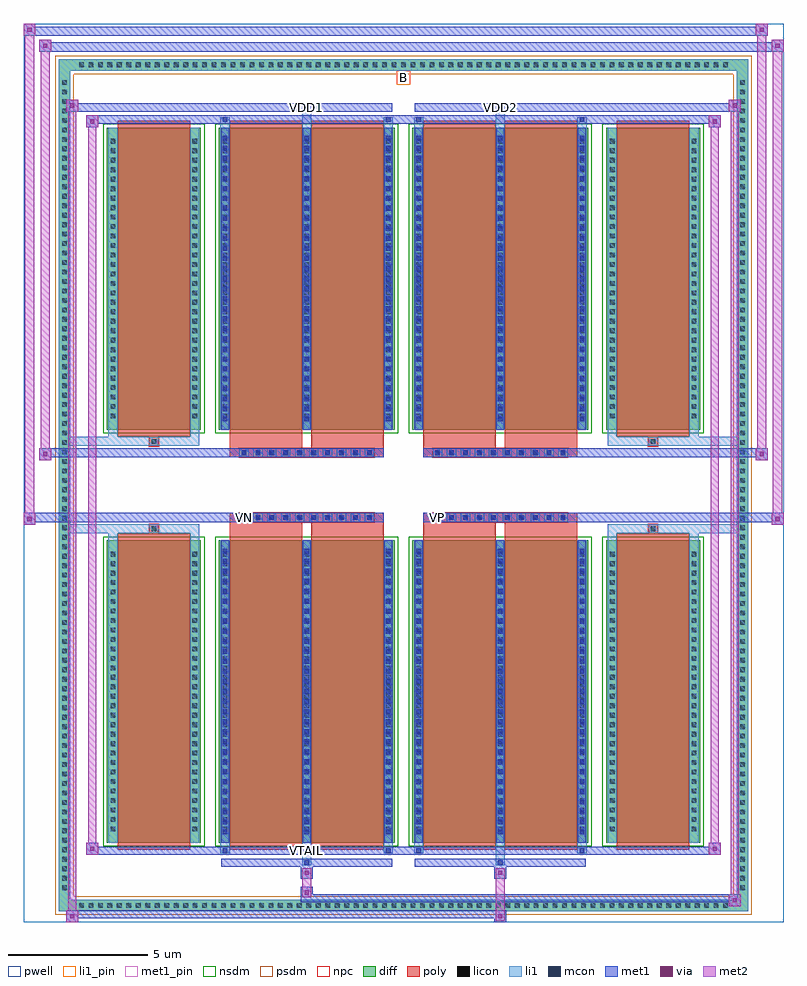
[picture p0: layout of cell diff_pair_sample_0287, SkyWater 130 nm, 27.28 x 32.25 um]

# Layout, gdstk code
import gdstk
lib = gdstk.Library(unit=1e-6, precision=5e-09)
def R(c, l, rs):  # rectangles x0, y0, x1, y1
    for r in rs: c.add(gdstk.rectangle(r[:2], r[2:], *l))
def A(c, l, x, y, w, h, nx, ny, dx, dy):  # array of equal rectangles
    R(c, l, [(x+i*dx, y+j*dy, x+i*dx+w, y+j*dy+h) for i in range(nx) for j in range(ny)])
def P(c, l, *ps):  # polygons
    for p in ps: c.add(gdstk.Polygon(p, *l))
pwell = (64, 44)
diff = (65, 20)
poly = (66, 20)
licon = (66, 44)
li1_pin = (67, 16)
li1 = (67, 20)
mcon = (67, 44)
met1_pin = (68, 16)
met1 = (68, 20)
via = (68, 44)
met2 = (69, 20)
nsdm = (93, 44)
psdm = (94, 20)
npc = (95, 20)

diff_pair_sample_0287 = lib.new_cell('diff_pair_sample_0287')
R(diff_pair_sample_0287, pwell, [(-13.64,-15.69,13.64,16.56), (-10.96,-13.88,-0.01,-0.8), (0.01,-13.88,10.96,-0.8), (-10.96,0.8,-0.01,13.88), (0.01,0.8,10.96,13.88)])
A(diff_pair_sample_0287, diff, -11.765, -15.29, 0.41, 0.41, 69, 2, 0.34, 30.17)
A(diff_pair_sample_0287, diff, -12.37, -14.655, 0.41, 0.41, 1, 86, 0, 0.34)
A(diff_pair_sample_0287, diff, 11.96, -14.655, 0.41, 0.41, 1, 86, 0, 0.34)
R(diff_pair_sample_0287, diff, [(-11.765,-15.29,11.765,-14.88), (-12.37,-14.655,-11.96,14.655), (11.96,-14.655,12.37,14.655), (-10.65,-12.835,-7.27,-1.985), (-6.63,-12.835,-0.32,-1.985), (0.32,-12.835,6.63,-1.985), (7.27,-12.835,10.65,-1.985), (-10.65,1.985,-7.27,12.835), (-6.63,1.985,-0.32,12.835), (0.32,1.985,6.63,12.835), (7.27,1.985,10.65,12.835), (-11.765,14.88,11.765,15.29)])
P(diff_pair_sample_0287, diff, [(12.37,15.29),(-12.37,15.29),(-12.37,-14.88),(-11.96,-14.88),(-11.96,14.88),(11.96,14.88),(11.96,-14.88),(-11.96,-14.88),(-12.37,-14.88),(-12.37,-15.29),(12.37,-15.29)])
A(diff_pair_sample_0287, poly, -5.89, -1.33, 0.33, 0.33, 10, 2, 0.5, 2.33)
A(diff_pair_sample_0287, poly, 1.06, -1.33, 0.33, 0.33, 10, 2, 0.5, 2.33)
R(diff_pair_sample_0287, poly, [(-10.26,-13.085,-7.66,-1.735), (-6.24,-13.085,-3.64,-1.735), (-3.31,-13.085,-0.71,-1.735), (0.71,-13.085,3.31,-1.735), (3.64,-13.085,6.24,-1.735), (7.66,-13.085,10.26,-1.735), (-9.125,-1.735,-8.795,-1.405), (-9.125,-1.735,-8.795,-1.405), (-6.24,-1.735,-3.64,-1.33), (-3.31,-1.735,-0.71,-1.33), (0.71,-1.735,3.31,-1.33), (3.64,-1.735,6.24,-1.33), (8.795,-1.735,9.125,-1.405), (8.795,-1.735,9.125,-1.405), (-6.24,-1.33,-0.71,-1), (0.71,-1.33,6.24,-1), (-6.24,1,-0.71,1.33), (0.71,1,6.24,1.33), (-6.24,1.33,-3.64,1.735), (-3.31,1.33,-0.71,1.735), (0.71,1.33,3.31,1.735), (3.64,1.33,6.24,1.735), (-9.125,1.405,-8.795,1.735), (-9.125,1.405,-8.795,1.735), (8.795,1.405,9.125,1.735), (8.795,1.405,9.125,1.735), (-10.26,1.735,-7.66,13.085), (-6.24,1.735,-3.64,13.085), (-3.31,1.735,-0.71,13.085), (0.71,1.735,3.31,13.085), (3.64,1.735,6.24,13.085), (7.66,1.735,10.26,13.085)])
A(diff_pair_sample_0287, licon, -11.645, -15.17, 0.17, 0.17, 69, 2, 0.34, 30.17)
A(diff_pair_sample_0287, licon, -12.25, -14.535, 0.17, 0.17, 1, 86, 0, 0.34)
A(diff_pair_sample_0287, licon, 12.08, -14.535, 0.17, 0.17, 1, 86, 0, 0.34)
A(diff_pair_sample_0287, licon, -10.51, -12.425, 0.17, 0.17, 1, 30, 0, 0.34)
A(diff_pair_sample_0287, licon, -7.58, -12.425, 0.17, 0.17, 1, 30, 0, 0.34)
A(diff_pair_sample_0287, licon, -6.49, -12.425, 0.17, 0.17, 3, 30, 2.93, 0.34)
A(diff_pair_sample_0287, licon, 0.46, -12.425, 0.17, 0.17, 3, 30, 2.93, 0.34)
A(diff_pair_sample_0287, licon, 7.41, -12.425, 0.17, 0.17, 1, 30, 0, 0.34)
A(diff_pair_sample_0287, licon, 10.34, -12.425, 0.17, 0.17, 1, 30, 0, 0.34)
A(diff_pair_sample_0287, licon, -5.81, -1.25, 0.17, 0.17, 10, 2, 0.5, 2.33)
A(diff_pair_sample_0287, licon, 1.14, -1.25, 0.17, 0.17, 10, 2, 0.5, 2.33)
A(diff_pair_sample_0287, licon, -10.51, 2.395, 0.17, 0.17, 1, 30, 0, 0.34)
A(diff_pair_sample_0287, licon, -7.58, 2.395, 0.17, 0.17, 1, 30, 0, 0.34)
A(diff_pair_sample_0287, licon, -6.49, 2.395, 0.17, 0.17, 3, 30, 2.93, 0.34)
A(diff_pair_sample_0287, licon, 0.46, 2.395, 0.17, 0.17, 3, 30, 2.93, 0.34)
A(diff_pair_sample_0287, licon, 7.41, 2.395, 0.17, 0.17, 1, 30, 0, 0.34)
A(diff_pair_sample_0287, licon, 10.34, 2.395, 0.17, 0.17, 1, 30, 0, 0.34)
R(diff_pair_sample_0287, licon, [(-9.045,-1.655,-8.875,-1.485), (8.875,-1.655,9.045,-1.485), (-9.045,1.485,-8.875,1.655), (8.875,1.485,9.045,1.655)])
R(diff_pair_sample_0287, li1_pin, [(-0.25,14.38,0.25,14.88)])
A(diff_pair_sample_0287, li1, -11.725, -15.25, 0.33, 0.33, 69, 2, 0.34, 30.17)
A(diff_pair_sample_0287, li1, -12.33, -14.615, 0.33, 0.33, 1, 86, 0, 0.34)
A(diff_pair_sample_0287, li1, 12, -14.615, 0.33, 0.33, 1, 86, 0, 0.34)
A(diff_pair_sample_0287, li1, -6.57, -12.835, 0.33, 10.85, 3, 2, 2.93, 14.82)
A(diff_pair_sample_0287, li1, 0.38, -12.835, 0.33, 10.85, 3, 2, 2.93, 14.82)
A(diff_pair_sample_0287, li1, -6.49, -12.535, 0.17, 0.17, 3, 29, 2.93, 0.36)
A(diff_pair_sample_0287, li1, -6.49, -12.535, 0.17, 10.25, 3, 2, 2.93, 14.82)
A(diff_pair_sample_0287, li1, 0.46, -12.535, 0.17, 0.17, 3, 29, 2.93, 0.36)
A(diff_pair_sample_0287, li1, 0.46, -12.535, 0.17, 10.25, 3, 2, 2.93, 14.82)
A(diff_pair_sample_0287, li1, -10.59, -12.505, 0.33, 0.33, 1, 30, 0, 0.34)
A(diff_pair_sample_0287, li1, -7.66, -12.505, 0.33, 0.33, 1, 30, 0, 0.34)
A(diff_pair_sample_0287, li1, -6.57, -12.505, 0.33, 0.33, 3, 30, 2.93, 0.34)
A(diff_pair_sample_0287, li1, 0.38, -12.505, 0.33, 0.33, 3, 30, 2.93, 0.34)
A(diff_pair_sample_0287, li1, 7.33, -12.505, 0.33, 0.33, 1, 30, 0, 0.34)
A(diff_pair_sample_0287, li1, 10.26, -12.505, 0.33, 0.33, 1, 30, 0, 0.34)
A(diff_pair_sample_0287, li1, -5.89, -1.33, 0.33, 0.33, 10, 2, 0.5, 2.33)
A(diff_pair_sample_0287, li1, 1.06, -1.33, 0.33, 0.33, 10, 2, 0.5, 2.33)
A(diff_pair_sample_0287, li1, -6.49, 2.285, 0.17, 0.17, 3, 29, 2.93, 0.36)
A(diff_pair_sample_0287, li1, 0.46, 2.285, 0.17, 0.17, 3, 29, 2.93, 0.36)
A(diff_pair_sample_0287, li1, -10.59, 2.315, 0.33, 0.33, 1, 30, 0, 0.34)
A(diff_pair_sample_0287, li1, -7.66, 2.315, 0.33, 0.33, 1, 30, 0, 0.34)
A(diff_pair_sample_0287, li1, -6.57, 2.315, 0.33, 0.33, 3, 30, 2.93, 0.34)
A(diff_pair_sample_0287, li1, 0.38, 2.315, 0.33, 0.33, 3, 30, 2.93, 0.34)
A(diff_pair_sample_0287, li1, 7.33, 2.315, 0.33, 0.33, 1, 30, 0, 0.34)
A(diff_pair_sample_0287, li1, 10.26, 2.315, 0.33, 0.33, 1, 30, 0, 0.34)
R(diff_pair_sample_0287, li1, [(-12.37,-15.29,-11.96,-14.88), (-12.37,-15.29,-11.96,-14.88), (-11.96,-15.29,11.96,-14.88), (11.96,-15.29,12.37,-14.88), (11.96,-15.29,12.37,-14.88), (-12.37,-14.88,-11.96,14.88), (11.96,-14.88,12.37,14.88), (-3.64,-13.64,-3.31,-12.835), (-3.56,-13.64,-3.39,-13.47), (3.31,-13.64,3.64,-12.835), (3.39,-13.64,3.56,-13.47), (-6.57,-13.21,-6.24,-12.835), (-6.49,-13.21,-6.32,-13.04), (-0.71,-13.21,-0.38,-12.835), (-0.63,-13.21,-0.46,-13.04), (0.38,-13.21,0.71,-12.835), (0.46,-13.21,0.63,-13.04), (6.24,-13.21,6.57,-12.835), (6.32,-13.21,6.49,-13.04), (-10.59,-12.835,-10.26,-1.985), (-7.66,-12.835,-7.33,-1.985), (7.33,-12.835,7.66,-1.985), (10.26,-12.835,10.59,-1.985), (-10.59,-1.985,-10.26,-1.405), (-7.66,-1.985,-7.33,-1.405), (7.33,-1.985,7.66,-1.405), (10.26,-1.985,10.59,-1.405), (-12.37,-1.735,-9.125,-1.405), (-10.59,-1.735,-9.125,-1.405), (-9.125,-1.735,-8.795,-1.405), (-8.795,-1.735,-7.33,-1.405), (7.33,-1.735,8.795,-1.405), (8.795,-1.735,9.125,-1.405), (8.795,-1.735,12.37,-1.405), (9.125,-1.735,10.59,-1.405), (-12.37,1.405,-9.125,1.735), (-10.59,1.405,-9.125,1.735), (-10.59,1.405,-10.26,1.985), (-9.125,1.405,-8.795,1.735), (-8.795,1.405,-7.33,1.735), (-7.66,1.405,-7.33,1.985), (7.33,1.405,8.795,1.735), (7.33,1.405,7.66,1.985), (8.795,1.405,9.125,1.735), (8.795,1.405,12.37,1.735), (9.125,1.405,10.59,1.735), (10.26,1.405,10.59,1.985), (-10.59,1.985,-10.26,12.835), (-7.66,1.985,-7.33,12.835), (7.33,1.985,7.66,12.835), (10.26,1.985,10.59,12.835), (-6.57,12.835,-6.24,13.21), (-3.64,12.835,-3.31,13.64), (-0.71,12.835,-0.38,13.21), (0.38,12.835,0.71,13.21), (3.31,12.835,3.64,13.64), (6.24,12.835,6.57,13.21), (-6.49,13.04,-6.32,13.21), (-0.63,13.04,-0.46,13.21), (0.46,13.04,0.63,13.21), (6.32,13.04,6.49,13.21), (-3.56,13.47,-3.39,13.64), (3.39,13.47,3.56,13.64), (-12.37,14.88,-11.96,15.29), (-12.37,14.88,-11.96,15.29), (-11.96,14.88,11.96,15.29), (11.96,14.88,12.37,15.29), (11.96,14.88,12.37,15.29)])
A(diff_pair_sample_0287, mcon, -6.49, -12.535, 0.17, 0.17, 3, 29, 2.93, 0.36)
A(diff_pair_sample_0287, mcon, 0.46, -12.535, 0.17, 0.17, 3, 29, 2.93, 0.36)
A(diff_pair_sample_0287, mcon, -5.81, -1.25, 0.17, 0.17, 10, 2, 0.5, 2.33)
A(diff_pair_sample_0287, mcon, 1.14, -1.25, 0.17, 0.17, 10, 2, 0.5, 2.33)
A(diff_pair_sample_0287, mcon, -6.49, 2.285, 0.17, 0.17, 3, 29, 2.93, 0.36)
A(diff_pair_sample_0287, mcon, 0.46, 2.285, 0.17, 0.17, 3, 29, 2.93, 0.36)
R(diff_pair_sample_0287, mcon, [(-3.56,-13.64,-3.39,-13.47), (3.39,-13.64,3.56,-13.47), (-6.49,-13.21,-6.32,-13.04), (-0.63,-13.21,-0.46,-13.04), (0.46,-13.21,0.63,-13.04), (6.32,-13.21,6.49,-13.04), (-6.49,13.04,-6.32,13.21), (-0.63,13.04,-0.46,13.21), (0.46,13.04,0.63,13.21), (6.32,13.04,6.49,13.21), (-3.56,13.47,-3.39,13.64), (3.39,13.47,3.56,13.64)])
R(diff_pair_sample_0287, met1_pin, [(-3.61,-13.25,-3.34,-12.98), (-5.86,-1.29,-5.59,-1.02), (1.09,-1.29,1.36,-1.02), (-3.61,13.43,-3.34,13.7), (3.34,13.43,3.61,13.7)])
A(diff_pair_sample_0287, met1, -6.55, -12.835, 0.29, 10.85, 3, 2, 2.93, 14.82)
A(diff_pair_sample_0287, met1, 0.4, -12.835, 0.29, 10.85, 3, 2, 2.93, 14.82)
A(diff_pair_sample_0287, met1, -6.55, -12.595, 0.29, 0.29, 3, 29, 2.93, 0.36)
A(diff_pair_sample_0287, met1, 0.4, -12.595, 0.29, 0.29, 3, 29, 2.93, 0.36)
A(diff_pair_sample_0287, met1, -5.87, -1.31, 0.29, 0.29, 10, 2, 0.5, 2.33)
A(diff_pair_sample_0287, met1, 1.08, -1.31, 0.29, 0.29, 10, 2, 0.5, 2.33)
A(diff_pair_sample_0287, met1, -6.55, 2.225, 0.29, 0.29, 3, 29, 2.93, 0.36)
A(diff_pair_sample_0287, met1, 0.4, 2.225, 0.29, 0.29, 3, 29, 2.93, 0.36)
R(diff_pair_sample_0287, met1, [(-12.1,-15.69,-11.67,-15.26), (3.26,-15.69,3.69,-15.26), (-12.1,-15.55,3.69,-15.26), (11.67,-15.12,12.1,-14.69), (-3.69,-14.98,12.1,-14.69), (-3.69,-14.84,-3.26,-14.41), (-3.69,-14.13,-3.26,-13.7), (3.26,-14.13,3.69,-13.7), (-6.55,-13.7,-0.4,-13.41), (-3.62,-13.7,-3.33,-13.41), (0.4,-13.7,6.55,-13.41), (3.33,-13.7,3.62,-13.41), (-11.39,-13.27,-10.96,-12.84), (-11.39,-13.27,-6.55,-12.98), (-6.55,-13.27,-6.26,-12.98), (-6.55,-13.27,-0.4,-12.98), (-0.69,-13.27,-0.4,-12.98), (-0.4,-13.27,0.4,-12.98), (0.4,-13.27,0.69,-12.98), (0.4,-13.27,6.55,-12.98), (6.26,-13.27,6.55,-12.98), (6.55,-13.27,11.39,-12.98), (10.96,-13.27,11.39,-12.84), (-13.64,-1.43,-13.21,-1), (13.21,-1.43,13.64,-1), (-13.64,-1.33,-0.71,-1), (-6.24,-1.33,-0.71,-1), (0.71,-1.33,6.24,-1), (0.71,-1.33,13.64,-1), (-13.07,0.9,-12.64,1.33), (12.64,0.9,13.07,1.33), (-13.07,1,-6.24,1.33), (-6.24,1,-0.71,1.33), (0.71,1,6.24,1.33), (6.24,1,13.07,1.33), (-11.39,12.84,-10.96,13.27), (10.96,12.84,11.39,13.27), (-11.39,12.98,-6.55,13.27), (-6.55,12.98,-6.26,13.27), (-6.55,12.98,-0.4,13.27), (-0.69,12.98,-0.4,13.27), (-0.4,12.98,0.4,13.27), (0.4,12.98,0.69,13.27), (0.4,12.98,6.55,13.27), (6.26,12.98,6.55,13.27), (6.55,12.98,11.39,13.27), (-12.1,13.41,-11.67,13.84), (-12.1,13.41,-6.55,13.7), (-6.55,13.41,-0.4,13.7), (-3.62,13.41,-3.33,13.7), (0.4,13.41,6.55,13.7), (3.33,13.41,3.62,13.7), (6.55,13.41,12.1,13.7), (11.67,13.41,12.1,13.84), (-13.07,15.56,-12.64,15.99), (-13.07,15.56,-10.96,15.89), (-10.96,15.56,10.96,15.89), (10.96,15.56,13.64,15.89), (13.21,15.56,13.64,15.99), (-13.64,16.13,-13.21,16.56), (-13.64,16.13,-10.96,16.46), (-10.96,16.13,10.96,16.46), (10.96,16.13,13.07,16.46), (12.64,16.13,13.07,16.56)])
R(diff_pair_sample_0287, via, [(-11.96,-15.55,-11.81,-15.4), (3.4,-15.55,3.55,-15.4), (11.81,-14.98,11.96,-14.83), (-3.55,-14.7,-3.4,-14.55), (-3.55,-13.99,-3.4,-13.84), (3.4,-13.99,3.55,-13.84), (-11.25,-13.13,-11.1,-12.98), (11.1,-13.13,11.25,-12.98), (-13.5,-1.29,-13.35,-1.14), (13.35,-1.29,13.5,-1.14), (-12.93,1.04,-12.78,1.19), (12.78,1.04,12.93,1.19), (-11.25,12.98,-11.1,13.13), (11.1,12.98,11.25,13.13), (-11.96,13.55,-11.81,13.7), (11.81,13.55,11.96,13.7), (-12.93,15.7,-12.78,15.85), (13.35,15.7,13.5,15.85), (-13.5,16.27,-13.35,16.42), (12.78,16.27,12.93,16.42)])
R(diff_pair_sample_0287, met2, [(-12.1,-15.69,-11.67,-15.26), (-12.03,-15.69,-11.74,13.84), (-11.74,-15.69,-11.67,-15.26), (-12.05,-15.64,-11.72,-15.31), (3.31,-15.64,3.64,-15.31), (3.31,-15.31,3.64,-14.08), (11.67,-15.12,12.1,-14.69), (11.74,-15.12,12.03,13.84), (12.03,-15.12,12.1,-14.69), (11.72,-15.07,12.05,-14.74), (-3.64,-14.79,-3.31,-14.46), (-3.64,-14.46,-3.31,-14.08), (-3.64,-14.08,-3.31,-13.75), (3.31,-14.08,3.64,-13.75), (-11.39,-13.27,-10.96,-12.84), (-11.32,-13.27,-11.03,13.27), (-11.03,-13.27,-10.96,-12.84), (10.96,-13.27,11.39,-12.84), (11.03,-13.27,11.32,13.27), (11.32,-13.27,11.39,-12.84), (-11.34,-13.22,-11.01,-12.89), (11.01,-13.22,11.34,-12.89), (-13.64,-1.43,-13.21,-1), (-13.59,-1.43,-13.26,16.56), (-13.26,-1.43,-13.21,-1), (13.21,-1.43,13.64,-1), (13.26,-1.43,13.59,15.99), (13.59,-1.43,13.64,-1), (-13.59,-1.38,-13.26,-1.05), (13.26,-1.38,13.59,-1.05), (-13.07,0.9,-12.64,1.33), (-13.02,0.9,-12.69,15.99), (-12.69,0.9,-12.64,1.33), (12.64,0.9,13.07,1.33), (12.69,0.9,13.02,16.56), (13.02,0.9,13.07,1.33), (-13.02,0.95,-12.69,1.28), (12.69,0.95,13.02,1.28), (-11.39,12.84,-10.96,13.27), (-11.03,12.84,-10.96,13.27), (10.96,12.84,11.39,13.27), (11.32,12.84,11.39,13.27), (-11.34,12.89,-11.01,13.22), (11.01,12.89,11.34,13.22), (-12.1,13.41,-11.67,13.84), (-11.74,13.41,-11.67,13.84), (11.67,13.41,12.1,13.84), (12.03,13.41,12.1,13.84), (-12.05,13.46,-11.72,13.79), (11.72,13.46,12.05,13.79), (-13.07,15.56,-12.64,15.99), (-12.69,15.56,-12.64,15.99), (13.21,15.56,13.64,15.99), (13.59,15.56,13.64,15.99), (-13.02,15.61,-12.69,15.94), (13.26,15.61,13.59,15.94), (-13.64,16.13,-13.21,16.56), (-13.26,16.13,-13.21,16.56), (12.64,16.13,13.07,16.56), (13.02,16.13,13.07,16.56), (-13.59,16.18,-13.26,16.51), (12.69,16.18,13.02,16.51)])
R(diff_pair_sample_0287, nsdm, [(-10.78,-12.965,-7.14,-1.855), (-6.76,-12.965,-0.19,-1.855), (0.19,-12.965,6.76,-1.855), (7.14,-12.965,10.78,-1.855), (-10.78,1.855,-7.14,12.965), (-6.76,1.855,-0.19,12.965), (0.19,1.855,6.76,12.965), (7.14,1.855,10.78,12.965)])
P(diff_pair_sample_0287, psdm, [(12.5,15.42),(-12.5,15.42),(-12.5,-14.75),(-11.83,-14.75),(-11.83,14.75),(11.83,14.75),(11.83,-14.75),(-11.83,-14.75),(-12.5,-14.75),(-12.5,-15.42),(12.5,-15.42)])
A(diff_pair_sample_0287, npc, -5.91, -1.35, 0.37, 0.37, 10, 2, 0.5, 2.33)
A(diff_pair_sample_0287, npc, 1.04, -1.35, 0.37, 0.37, 10, 2, 0.5, 2.33)
R(diff_pair_sample_0287, npc, [(-9.145,-1.755,-8.775,-1.385), (8.775,-1.755,9.145,-1.385), (-5.91,-1.35,-5.04,-0.98), (-5.91,-1.35,-5.04,-0.98), (-5.41,-1.35,-4.54,-0.98), (-5.41,-1.35,-4.54,-0.98), (-4.91,-1.35,-4.04,-0.98), (-4.91,-1.35,-4.04,-0.98), (-4.41,-1.35,-3.54,-0.98), (-4.41,-1.35,-3.54,-0.98), (-3.91,-1.35,-3.04,-0.98), (-3.91,-1.35,-3.04,-0.98), (-3.41,-1.35,-2.54,-0.98), (-3.41,-1.35,-2.54,-0.98), (-2.91,-1.35,-2.04,-0.98), (-2.91,-1.35,-2.04,-0.98), (-2.41,-1.35,-1.54,-0.98), (-2.41,-1.35,-1.54,-0.98), (-1.91,-1.35,-1.04,-0.98), (-1.91,-1.35,-1.04,-0.98), (1.04,-1.35,1.91,-0.98), (1.04,-1.35,1.91,-0.98), (1.54,-1.35,2.41,-0.98), (1.54,-1.35,2.41,-0.98), (2.04,-1.35,2.91,-0.98), (2.04,-1.35,2.91,-0.98), (2.54,-1.35,3.41,-0.98), (2.54,-1.35,3.41,-0.98), (3.04,-1.35,3.91,-0.98), (3.04,-1.35,3.91,-0.98), (3.54,-1.35,4.41,-0.98), (3.54,-1.35,4.41,-0.98), (4.04,-1.35,4.91,-0.98), (4.04,-1.35,4.91,-0.98), (4.54,-1.35,5.41,-0.98), (4.54,-1.35,5.41,-0.98), (5.04,-1.35,5.91,-0.98), (5.04,-1.35,5.91,-0.98), (-5.91,0.98,-5.04,1.35), (-5.91,0.98,-5.04,1.35), (-5.41,0.98,-4.54,1.35), (-5.41,0.98,-4.54,1.35), (-4.91,0.98,-4.04,1.35), (-4.91,0.98,-4.04,1.35), (-4.41,0.98,-3.54,1.35), (-4.41,0.98,-3.54,1.35), (-3.91,0.98,-3.04,1.35), (-3.91,0.98,-3.04,1.35), (-3.41,0.98,-2.54,1.35), (-3.41,0.98,-2.54,1.35), (-2.91,0.98,-2.04,1.35), (-2.91,0.98,-2.04,1.35), (-2.41,0.98,-1.54,1.35), (-2.41,0.98,-1.54,1.35), (-1.91,0.98,-1.04,1.35), (-1.91,0.98,-1.04,1.35), (1.04,0.98,1.91,1.35), (1.04,0.98,1.91,1.35), (1.54,0.98,2.41,1.35), (1.54,0.98,2.41,1.35), (2.04,0.98,2.91,1.35), (2.04,0.98,2.91,1.35), (2.54,0.98,3.41,1.35), (2.54,0.98,3.41,1.35), (3.04,0.98,3.91,1.35), (3.04,0.98,3.91,1.35), (3.54,0.98,4.41,1.35), (3.54,0.98,4.41,1.35), (4.04,0.98,4.91,1.35), (4.04,0.98,4.91,1.35), (4.54,0.98,5.41,1.35), (4.54,0.98,5.41,1.35), (5.04,0.98,5.91,1.35), (5.04,0.98,5.91,1.35), (-9.145,1.385,-8.775,1.755), (8.775,1.385,9.145,1.755)])
diff_pair_sample_0287.add(gdstk.Label('VTAIL', (-3.475,-13.115), layer=68, texttype=5))
diff_pair_sample_0287.add(gdstk.Label('VN', (-5.725,-1.155), layer=68, texttype=5))
diff_pair_sample_0287.add(gdstk.Label('VP', (1.225,-1.155), layer=68, texttype=5))
diff_pair_sample_0287.add(gdstk.Label('B', (0,14.63), layer=67, texttype=5))
diff_pair_sample_0287.add(gdstk.Label('VDD2', (3.475,13.565), layer=68, texttype=5))
diff_pair_sample_0287.add(gdstk.Label('VDD1', (-3.475,13.565), layer=68, texttype=5))

lib.write_gds('diff_pair_sample_0287.gds')
